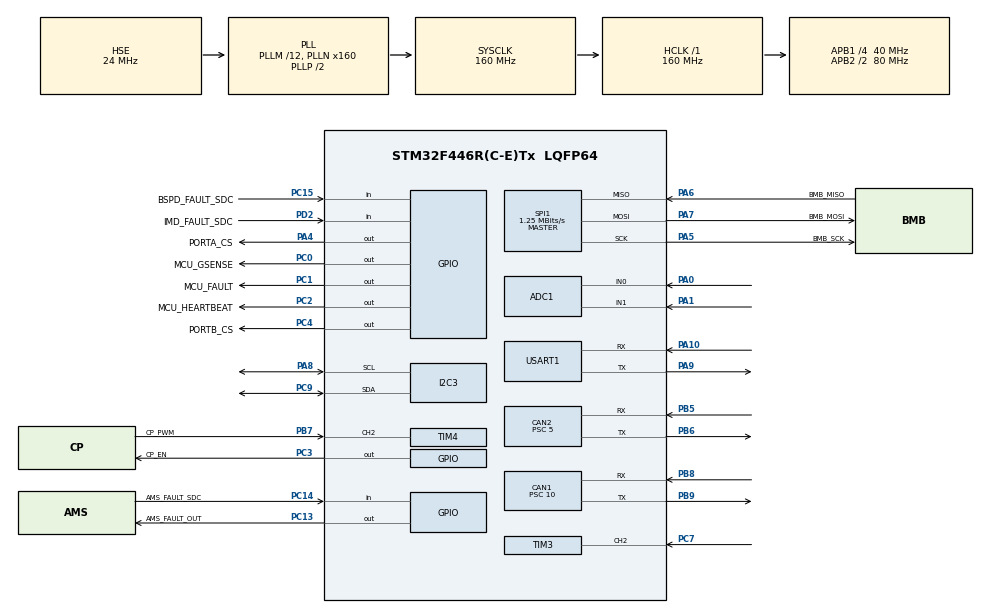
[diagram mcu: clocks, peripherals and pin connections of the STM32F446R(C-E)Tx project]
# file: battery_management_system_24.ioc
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ADC1.Channel-0\#ChannelRegularConversion=ADC_CHANNEL_0
ADC1.Channel-1\#ChannelRegularConversion=ADC_CHANNEL_0
ADC1.ContinuousConvMode=ENABLE
ADC1.DMAContinuousRequests=ENABLE
ADC1.NbrOfConversion=2
ADC1.NbrOfConversionFlag=1
ADC1.Rank-0\#ChannelRegularConversion=1
ADC1.Rank-1\#ChannelRegularConversion=2
ADC1.SamplingTime-0\#ChannelRegularConversion=ADC_SAMPLETIME_3CYCLES
ADC1.SamplingTime-1\#ChannelRegularConversion=ADC_SAMPLETIME_3CYCLES
ADC1.ScanConvMode=ENABLE
ADC1.master=1
CAN1.ABOM=ENABLE
CAN1.AWUM=ENABLE
CAN1.BS1=CAN_BS1_6TQ
CAN1.CalculateBaudRate=500000
CAN1.CalculateTimeBit=2000
CAN1.CalculateTimeQuantum=250.0
CAN1.Prescaler=10
CAN2.ABOM=ENABLE
CAN2.AWUM=ENABLE
CAN2.BS1=CAN_BS1_6TQ
CAN2.CalculateBaudRate=1000000
CAN2.CalculateTimeBit=1000
CAN2.CalculateTimeQuantum=125.0
CAN2.Prescaler=5
Dma.ADC1.0.Direction=DMA_PERIPH_TO_MEMORY
Dma.ADC1.0.FIFOMode=DMA_FIFOMODE_DISABLE
Dma.ADC1.0.Instance=DMA2_Stream0
Dma.ADC1.0.MemDataAlignment=DMA_MDATAALIGN_HALFWORD
Dma.ADC1.0.MemInc=DMA_MINC_ENABLE
Dma.ADC1.0.Mode=DMA_NORMAL
Dma.ADC1.0.PeriphDataAlignment=DMA_PDATAALIGN_HALFWORD
Dma.ADC1.0.PeriphInc=DMA_PINC_DISABLE
Dma.ADC1.0.Priority=DMA_PRIORITY_LOW
Dma.Request0=ADC1
FREERTOS.INCLUDE_vTaskDelayUntil=1
FREERTOS.Tasks01=bmbUpdateTask,0,8192,StartBmbUpdateTask,Default,NULL,Static,bmbUpdateTaskBuffer,bmbUpdateTaskControlBlock;printTask,-1,4096,StartPrintTask,Default,NULL,Static,printTaskBuffer,printTaskControlBlock;lowPriTask,-2,512,StartLowPriTask,Default,NULL,Static,lowPriTaskBuffer,lowPriTaskControlBlock;chargerTask,1,1024,StartChargerTask,Default,NULL,Static,chargerTaskBuffer,chargerTaskControlBlock;idleTask,-3,128,StartIdleTask,Default,NULL,Static,idleTaskBuffer,idleTaskControlBlock;serviceGCAN,0,2048,runServiceGopherCan,Default,NULL,Dynamic,NULL,NULL;currentSenseTas,2,512,StartCurrentSenseTask,Default,NULL,Static,currentSenseTasBuffer,currentSenseTasControlBlock
FREERTOS.configMINIMAL_STACK_SIZE=128
FREERTOS.configTOTAL_HEAP_SIZE=15360
Mcu.Family=STM32F4
Mcu.Name=STM32F446R(C-E)Tx
Mcu.Package=LQFP64
NVIC.CAN1_RX0_IRQn=true\:5\:0\:false\:false\:true\:true\:true\:true\:true
NVIC.CAN2_RX0_IRQn=true\:5\:0\:false\:false\:true\:true\:true\:true\:true
NVIC.CAN2_RX1_IRQn=true\:5\:0\:false\:false\:true\:true\:true\:true\:true
NVIC.CAN2_TX_IRQn=true\:5\:0\:false\:false\:true\:true\:true\:true\:true
NVIC.DMA2_Stream0_IRQn=true\:5\:0\:false\:false\:true\:true\:false\:true\:true
NVIC.I2C3_ER_IRQn=true\:5\:0\:false\:false\:true\:true\:true\:true\:true
NVIC.I2C3_EV_IRQn=true\:5\:0\:false\:false\:true\:true\:true\:true\:true
NVIC.PriorityGroup=NVIC_PRIORITYGROUP_4
NVIC.SPI1_IRQn=true\:5\:0\:false\:false\:true\:true\:true\:true\:true
NVIC.TIM3_IRQn=true\:5\:0\:false\:false\:true\:true\:true\:true\:true
NVIC.TIM4_IRQn=true\:5\:0\:false\:false\:true\:true\:true\:true\:true
NVIC.TIM6_DAC_IRQn=true\:15\:0\:false\:false\:true\:false\:false\:true\:true
NVIC.TimeBase=TIM6_DAC_IRQn
NVIC.TimeBaseIP=TIM6
PA0-WKUP.Signal=ADCx_IN0
PA1.Signal=ADCx_IN1
PA10.Mode=Asynchronous
PA10.Signal=USART1_RX
PA13.Mode=Serial_Wire
PA13.Signal=SYS_JTMS-SWDIO
PA14.Mode=Serial_Wire
PA14.Signal=SYS_JTCK-SWCLK
PA4.GPIO_Label=PORTA_CS
PA4.Signal=GPIO_Output
PA5.GPIO_Label=BMB_SCK
PA5.Mode=Full_Duplex_Master
PA5.Signal=SPI1_SCK
PA6.GPIO_Label=BMB_MISO
PA6.Mode=Full_Duplex_Master
PA6.Signal=SPI1_MISO
PA7.GPIO_Label=BMB_MOSI
PA7.Mode=Full_Duplex_Master
PA7.Signal=SPI1_MOSI
PA8.GPIO_Pu=GPIO_PULLUP
PA8.Mode=I2C
PA8.Signal=I2C3_SCL
PA9.Mode=Asynchronous
PA9.Signal=USART1_TX
PB5.Mode=CAN_Activate
PB5.Signal=CAN2_RX
PB6.Mode=CAN_Activate
PB6.Signal=CAN2_TX
PB7.GPIO_Label=CP_PWM
PB7.Signal=S_TIM4_CH2
PB8.Mode=CAN_Activate
PB8.Signal=CAN1_RX
PB9.Mode=CAN_Activate
PB9.Signal=CAN1_TX
PC0.GPIO_Label=MCU_GSENSE
PC0.Signal=GPIO_Output
PC1.GPIO_Label=MCU_FAULT
PC1.Signal=GPIO_Output
PC13.GPIO_Label=AMS_FAULT_OUT
PC13.Signal=GPIO_Output
PC14-OSC32_IN.GPIO_Label=AMS_FAULT_SDC
PC14-OSC32_IN.Signal=GPIO_Input
PC15-OSC32_OUT.GPIO_Label=BSPD_FAULT_SDC
PC15-OSC32_OUT.Signal=GPIO_Input
PC2.GPIO_Label=MCU_HEARTBEAT
PC2.Signal=GPIO_Output
PC3.GPIO_Label=CP_EN
PC3.Signal=GPIO_Output
PC4.GPIO_Label=PORTB_CS
PC4.Signal=GPIO_Output
PC7.Signal=S_TIM3_CH2
PC9.GPIO_Pu=GPIO_PULLUP
PC9.Mode=I2C
PC9.Signal=I2C3_SDA
PD2.GPIO_Label=IMD_FAULT_SDC
PD2.Signal=GPIO_Input
PH0-OSC_IN.Mode=HSE-External-Oscillator
PH0-OSC_IN.Signal=RCC_OSC_IN
PH1-OSC_OUT.Mode=HSE-External-Oscillator
PH1-OSC_OUT.Signal=RCC_OSC_OUT
ProjectManager.HeapSize=0x200
ProjectManager.StackSize=0x400
ProjectManager.TargetToolchain=STM32CubeIDE
RCC.AHBFreq_Value=160000000
RCC.APB1CLKDivider=RCC_HCLK_DIV4
RCC.APB1Freq_Value=40000000
RCC.APB1TimFreq_Value=80000000
RCC.APB2CLKDivider=RCC_HCLK_DIV2
RCC.APB2Freq_Value=80000000
RCC.APB2TimFreq_Value=160000000
RCC.CortexFreq_Value=160000000
RCC.HCLKFreq_Value=160000000
RCC.HSE_VALUE=24000000
RCC.PLLM=12
RCC.PLLN=160
RCC.PLLSourceVirtual=RCC_PLLSOURCE_HSE
RCC.SYSCLKFreq_VALUE=160000000
RCC.SYSCLKSource=RCC_SYSCLKSOURCE_PLLCLK
RCC.USBFreq_Value=160000000
RCC.VCOOutputFreq_Value=320000000
SH.ADCx_IN0.0=ADC1_IN0,IN0
SH.ADCx_IN1.0=ADC1_IN1,IN1
SH.S_TIM3_CH2.0=TIM3_CH2,PWM_Input_2
SH.S_TIM4_CH2.0=TIM4_CH2,Input_Capture2_from_TI2
SPI1.BaudRatePrescaler=SPI_BAUDRATEPRESCALER_64
SPI1.CLKPhase=SPI_PHASE_2EDGE
SPI1.CLKPolarity=SPI_POLARITY_HIGH
SPI1.CalculateBaudRate=1.25 MBits/s
SPI1.Direction=SPI_DIRECTION_2LINES
SPI1.Mode=SPI_MODE_MASTER
SPI1.VirtualType=VM_MASTER
TIM3.ICPolarity_1=TIM_INPUTCHANNELPOLARITY_FALLING
TIM3.Prescaler=200
TIM4.Channel-Input_Capture2_from_TI2=TIM_CHANNEL_2
TIM4.ICPolarity_CH2=TIM_INPUTCHANNELPOLARITY_BOTHEDGE
TIM4.Period=65535
TIM4.Prescaler=80-1
USART1.VirtualMode=VM_ASYNC
VP_FREERTOS_VS_CMSIS_V1.Mode=CMSIS_V1
VP_SYS_VS_tim6.Mode=TIM6
VP_TIM3_VS_ClockSourceINT.Mode=Internal
VP_TIM4_VS_ClockSourceINT.Mode=Internal
board=custom

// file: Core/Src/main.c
/* USER CODE BEGIN Header */
/**
  ******************************************************************************
  * @file           : main.c
  * @brief          : Main program body
  ******************************************************************************
  * @attention
  *
  * Copyright (c) 2023 STMicroelectronics.
  * All rights reserved.
  *
  * This software is licensed under terms that can be found in the LICENSE file
  * in the root directory of this software component.
  * If no LICENSE file comes with this software, it is provided AS-IS.
  *
  ******************************************************************************
  */
/* USER CODE END Header */
#include "main.h"
#include "cmsis_os.h"

/* USER CODE BEGIN Includes */
#include "printTask.h"
#include "chargerTask.h"
#include "idleTask.h"
#include "gcanUpdateTask.h"
#include "spi.h"
#include <stdint.h>
#include <stdio.h>
#include "GopherCAN.h"
#include "gopher_sense.h"

/* USER CODE END Includes */

ADC_HandleTypeDef hadc1;
DMA_HandleTypeDef hdma_adc1;

CAN_HandleTypeDef hcan1;
CAN_HandleTypeDef hcan2;

I2C_HandleTypeDef hi2c3;

SPI_HandleTypeDef hspi1;

TIM_HandleTypeDef htim3;
TIM_HandleTypeDef htim4;

UART_HandleTypeDef huart1;

osThreadId bmbUpdateTaskHandle;
uint32_t bmbUpdateTaskBuffer[ 8192 ];
osStaticThreadDef_t bmbUpdateTaskControlBlock;
osThreadId printTaskHandle;
uint32_t printTaskBuffer[ 4096 ];
osStaticThreadDef_t printTaskControlBlock;
osThreadId lowPriTaskHandle;
uint32_t lowPriTaskBuffer[ 512 ];
osStaticThreadDef_t lowPriTaskControlBlock;
osThreadId chargerTaskHandle;
uint32_t chargerTaskBuffer[ 1024 ];
osStaticThreadDef_t chargerTaskControlBlock;
osThreadId idleTaskHandle;
uint32_t idleTaskBuffer[ 128 ];
osStaticThreadDef_t idleTaskControlBlock;
osThreadId serviceGCANHandle;
osThreadId currentSenseTasHandle;
uint32_t currentSenseTasBuffer[ 512 ];
osStaticThreadDef_t currentSenseTasControlBlock;
/* USER CODE BEGIN PV */

BmbTaskOutputData_S bmbTaskOutputData;
Charger_Data_S chargerTaskOutputData;
CurrentSenseTaskOutputData_S currentSenseOutputData;

volatile bool EVSEConnected = false;
volatile uint32_t EVSELastUpdate = 0;
volatile bool chargerConnected = false;
volatile bool newChargerMessage = false;
volatile uint8_t chargerMessage[5];

/* USER CODE END PV */

void SystemClock_Config(void);
static void MX_GPIO_Init(void);
static void MX_DMA_Init(void);
static void MX_SPI1_Init(void);
static void MX_USART1_UART_Init(void);
static void MX_TIM3_Init(void);
static void MX_I2C3_Init(void);
static void MX_CAN1_Init(void);
static void MX_TIM4_Init(void);
static void MX_ADC1_Init(void);
static void MX_CAN2_Init(void);
void StartBmbUpdateTask(void const * argument);
void StartPrintTask(void const * argument);
void StartLowPriTask(void const * argument);
void StartChargerTask(void const * argument);
void StartIdleTask(void const * argument);
void runServiceGopherCan(void const * argument);
void StartCurrentSenseTask(void const * argument);

/* USER CODE BEGIN PFP */
#ifdef __GNUC__
#define PUTCHAR_PROTOTYPE int __io_putchar(int ch)
#define GETCHAR_PROTOTYPE int __io_getchar(void)
#else
#define PUTCHAR_PROTOTYPE int fputc(int ch, FILE *f)
#define GETCHAR_PROTOTYPE int fgetc(FILE *f)
#endif

PUTCHAR_PROTOTYPE
{
  HAL_UART_Transmit(&huart1, (uint8_t *)&ch, 1, HAL_MAX_DELAY);
  return ch;
}

GETCHAR_PROTOTYPE
{
  uint8_t ch = 0;

  /* Clear the Overrun flag just before receiving the first character */
  __HAL_UART_CLEAR_OREFLAG(&huart1);

  /* Wait for reception of a character on the USART RX line and echo this
   * character on console */
  HAL_UART_Receive(&huart1, (uint8_t *)&ch, 1, HAL_MAX_DELAY);
  HAL_UART_Transmit(&huart1, (uint8_t *)&ch, 1, HAL_MAX_DELAY);
  return ch;
}
/* USER CODE END PFP */

/* USER CODE BEGIN 0 */

/*!
  @brief   Interrupt when SPI TX/RX finishes. Unblock task by releasing
  	  	   semaphore
  @param   SPI Handle
*/
void HAL_SPI_TxRxCpltCallback(SPI_HandleTypeDef *hspi)
{
	if (hspi == &hspi1)
	{
		static BaseType_t xHigherPriorityTaskWoken = pdFALSE;
		xTaskNotifyFromISR(bmbUpdateTaskHandle, SPI_SUCCESS, eSetBits, &xHigherPriorityTaskWoken);
		portYIELD_FROM_ISR(xHigherPriorityTaskWoken);
	}
}

void HAL_SPI_ErrorCallback(SPI_HandleTypeDef *hspi)
{
  if (hspi == &hspi1)
	{
		static BaseType_t xHigherPriorityTaskWoken = pdFALSE;
    xTaskNotifyFromISR(bmbUpdateTaskHandle, SPI_ERROR, eSetBits, &xHigherPriorityTaskWoken);
		portYIELD_FROM_ISR(xHigherPriorityTaskWoken);
	}
}

void HAL_TIM_IC_CaptureCallback(TIM_HandleTypeDef *htim)
{
  if((htim == &htim4) && (htim->Channel == HAL_TIM_ACTIVE_CHANNEL_2))
  {
    EVSEConnected = true;
    EVSELastUpdate = HAL_GetTick();
    __HAL_TIM_SET_COUNTER(htim, 0);
  }
}

// void GCAN_RxMsgPendingCallback(CAN_HandleTypeDef *hcan, U32 fifo_num)
// {
//   // Charger CAN
//   if(hcan == &hcan1)
//   {
//     CAN_RxHeaderTypeDef rxHeader;
//     uint8_t rxData[8];
//
//     HAL_CAN_GetRxMessage(hcan, fifo_num, &rxHeader, rxData);
//     if ((rxHeader.ExtId == CHARGER_CAN_ID_RX) && (rxHeader.DLC == 8))
//     {
//       for (int32_t i = 0; i < 5; i++)
//       {
//         chargerMessage[i] = rxData[i];
//       }
//       newChargerMessage = true;
//     }
//   }
//
//   // Gopher CAN
//   if(hcan == &hcan2)
//   {
//     service_can_rx_hardware(hcan, fifo_num);
//     GCAN_onRX(hcan);
//   }
// }

/* USER CODE END 0 */

int main(void)
{

  /* MCU Configuration--------------------------------------------------------*/

  /* Reset of all peripherals, Initializes the Flash interface and the Systick. */
  HAL_Init();

  /* Configure the system clock */
  SystemClock_Config();

  /* Initialize all configured peripherals */
  MX_GPIO_Init();
  MX_DMA_Init();
  MX_SPI1_Init();
  MX_USART1_UART_Init();
  MX_TIM3_Init();
  MX_I2C3_Init();
  MX_CAN1_Init();
  MX_TIM4_Init();
  MX_ADC1_Init();
  MX_CAN2_Init();
  /* USER CODE BEGIN 2 */

  init_can(&hcan1, GCAN0);
//  init_can(&hcan2, GCAN0);
//  gsense_init(&hcan2, &hadc1, NULL, NULL, MCU_GSENSE_GPIO_Port, MCU_GSENSE_Pin);

  HAL_TIM_IC_Start_IT(&htim4, TIM_CHANNEL_2);

  // Activate Charger CAN RX MSG PENDING notification
//   HAL_CAN_Start(&hcan1);
//   HAL_CAN_ActivateNotification(&hcan1, CAN_IT_RX_FIFO0_MSG_PENDING);

  /* USER CODE END 2 */

  /* Create the thread(s) */
  /* definition and creation of bmbUpdateTask */
  osThreadStaticDef(bmbUpdateTask, StartBmbUpdateTask, osPriorityNormal, 0, 8192, bmbUpdateTaskBuffer, &bmbUpdateTaskControlBlock);
  bmbUpdateTaskHandle = osThreadCreate(osThread(bmbUpdateTask), NULL);

  /* definition and creation of printTask */
  osThreadStaticDef(printTask, StartPrintTask, osPriorityBelowNormal, 0, 4096, printTaskBuffer, &printTaskControlBlock);
  printTaskHandle = osThreadCreate(osThread(printTask), NULL);

  /* definition and creation of lowPriTask */
  osThreadStaticDef(lowPriTask, StartLowPriTask, osPriorityLow, 0, 512, lowPriTaskBuffer, &lowPriTaskControlBlock);
  lowPriTaskHandle = osThreadCreate(osThread(lowPriTask), NULL);

  /* definition and creation of chargerTask */
  osThreadStaticDef(chargerTask, StartChargerTask, osPriorityAboveNormal, 0, 1024, chargerTaskBuffer, &chargerTaskControlBlock);
  chargerTaskHandle = osThreadCreate(osThread(chargerTask), NULL);

  /* definition and creation of idleTask */
  osThreadStaticDef(idleTask, StartIdleTask, osPriorityIdle, 0, 128, idleTaskBuffer, &idleTaskControlBlock);
  idleTaskHandle = osThreadCreate(osThread(idleTask), NULL);

  /* definition and creation of serviceGCAN */
  osThreadDef(serviceGCAN, runServiceGopherCan, osPriorityNormal, 0, 2048);
  serviceGCANHandle = osThreadCreate(osThread(serviceGCAN), NULL);

  /* definition and creation of currentSenseTas */
  osThreadStaticDef(currentSenseTas, StartCurrentSenseTask, osPriorityHigh, 0, 512, currentSenseTasBuffer, &currentSenseTasControlBlock);
  currentSenseTasHandle = osThreadCreate(osThread(currentSenseTas), NULL);

  /* Start scheduler */
  osKernelStart();

  /* We should never get here as control is now taken by the scheduler */
  /* Infinite loop */
  while (1)
  {

  }
}

void SystemClock_Config(void)
{
  RCC_OscInitTypeDef RCC_OscInitStruct = {0};
  RCC_ClkInitTypeDef RCC_ClkInitStruct = {0};

  /** Configure the main internal regulator output voltage
  */
  __HAL_RCC_PWR_CLK_ENABLE();
  __HAL_PWR_VOLTAGESCALING_CONFIG(PWR_REGULATOR_VOLTAGE_SCALE1);

  /** Initializes the RCC Oscillators according to the specified parameters
  * in the RCC_OscInitTypeDef structure.
  */
  RCC_OscInitStruct.OscillatorType = RCC_OSCILLATORTYPE_HSE;
  RCC_OscInitStruct.HSEState = RCC_HSE_ON;
  RCC_OscInitStruct.PLL.PLLState = RCC_PLL_ON;
  RCC_OscInitStruct.PLL.PLLSource = RCC_PLLSOURCE_HSE;
  RCC_OscInitStruct.PLL.PLLM = 12;
  RCC_OscInitStruct.PLL.PLLN = 160;
  RCC_OscInitStruct.PLL.PLLP = RCC_PLLP_DIV2;
  RCC_OscInitStruct.PLL.PLLQ = 2;
  RCC_OscInitStruct.PLL.PLLR = 2;
  if (HAL_RCC_OscConfig(&RCC_OscInitStruct) != HAL_OK)
  {
    Error_Handler();
  }

  /** Initializes the CPU, AHB and APB buses clocks
  */
  RCC_ClkInitStruct.ClockType = RCC_CLOCKTYPE_HCLK|RCC_CLOCKTYPE_SYSCLK
                              |RCC_CLOCKTYPE_PCLK1|RCC_CLOCKTYPE_PCLK2;
  RCC_ClkInitStruct.SYSCLKSource = RCC_SYSCLKSOURCE_PLLCLK;
  RCC_ClkInitStruct.AHBCLKDivider = RCC_SYSCLK_DIV1;
  RCC_ClkInitStruct.APB1CLKDivider = RCC_HCLK_DIV4;
  RCC_ClkInitStruct.APB2CLKDivider = RCC_HCLK_DIV2;

  if (HAL_RCC_ClockConfig(&RCC_ClkInitStruct, FLASH_LATENCY_5) != HAL_OK)
  {
    Error_Handler();
  }
}

static void MX_ADC1_Init(void)
{

  ADC_ChannelConfTypeDef sConfig = {0};

  /** Configure the global features of the ADC (Clock, Resolution, Data Alignment and number of conversion)
  */
  hadc1.Instance = ADC1;
  hadc1.Init.ClockPrescaler = ADC_CLOCK_SYNC_PCLK_DIV4;
  hadc1.Init.Resolution = ADC_RESOLUTION_12B;
  hadc1.Init.ScanConvMode = ENABLE;
  hadc1.Init.ContinuousConvMode = ENABLE;
  hadc1.Init.DiscontinuousConvMode = DISABLE;
  hadc1.Init.ExternalTrigConvEdge = ADC_EXTERNALTRIGCONVEDGE_NONE;
  hadc1.Init.ExternalTrigConv = ADC_SOFTWARE_START;
  hadc1.Init.DataAlign = ADC_DATAALIGN_RIGHT;
  hadc1.Init.NbrOfConversion = 2;
  hadc1.Init.DMAContinuousRequests = ENABLE;
  hadc1.Init.EOCSelection = ADC_EOC_SINGLE_CONV;
  if (HAL_ADC_Init(&hadc1) != HAL_OK)
  {
    Error_Handler();
  }

  /** Configure for the selected ADC regular channel its corresponding rank in the sequencer and its sample time.
  */
  sConfig.Channel = ADC_CHANNEL_0;
  sConfig.Rank = 1;
  sConfig.SamplingTime = ADC_SAMPLETIME_3CYCLES;
  if (HAL_ADC_ConfigChannel(&hadc1, &sConfig) != HAL_OK)
  {
    Error_Handler();
  }

  /** Configure for the selected ADC regular channel its corresponding rank in the sequencer and its sample time.
  */
  sConfig.Rank = 2;
  if (HAL_ADC_ConfigChannel(&hadc1, &sConfig) != HAL_OK)
  {
    Error_Handler();
  }

}

static void MX_CAN1_Init(void)
{

  hcan1.Instance = CAN1;
  hcan1.Init.Prescaler = 10;
  hcan1.Init.Mode = CAN_MODE_NORMAL;
  hcan1.Init.SyncJumpWidth = CAN_SJW_1TQ;
  hcan1.Init.TimeSeg1 = CAN_BS1_6TQ;
  hcan1.Init.TimeSeg2 = CAN_BS2_1TQ;
  hcan1.Init.TimeTriggeredMode = DISABLE;
  hcan1.Init.AutoBusOff = ENABLE;
  hcan1.Init.AutoWakeUp = ENABLE;
  hcan1.Init.AutoRetransmission = DISABLE;
  hcan1.Init.ReceiveFifoLocked = DISABLE;
  hcan1.Init.TransmitFifoPriority = DISABLE;
  if (HAL_CAN_Init(&hcan1) != HAL_OK)
  {
    Error_Handler();
  }

}

static void MX_CAN2_Init(void)
{

  hcan2.Instance = CAN2;
  hcan2.Init.Prescaler = 5;
  hcan2.Init.Mode = CAN_MODE_NORMAL;
  hcan2.Init.SyncJumpWidth = CAN_SJW_1TQ;
  hcan2.Init.TimeSeg1 = CAN_BS1_6TQ;
  hcan2.Init.TimeSeg2 = CAN_BS2_1TQ;
  hcan2.Init.TimeTriggeredMode = DISABLE;
  hcan2.Init.AutoBusOff = ENABLE;
  hcan2.Init.AutoWakeUp = ENABLE;
  hcan2.Init.AutoRetransmission = DISABLE;
  hcan2.Init.ReceiveFifoLocked = DISABLE;
  hcan2.Init.TransmitFifoPriority = DISABLE;
  if (HAL_CAN_Init(&hcan2) != HAL_OK)
  {
    Error_Handler();
  }

}

static void MX_I2C3_Init(void)
{

  hi2c3.Instance = I2C3;
  hi2c3.Init.ClockSpeed = 100000;
  hi2c3.Init.DutyCycle = I2C_DUTYCYCLE_2;
  hi2c3.Init.OwnAddress1 = 0;
  hi2c3.Init.AddressingMode = I2C_ADDRESSINGMODE_7BIT;
  hi2c3.Init.DualAddressMode = I2C_DUALADDRESS_DISABLE;
  hi2c3.Init.OwnAddress2 = 0;
  hi2c3.Init.GeneralCallMode = I2C_GENERALCALL_DISABLE;
  hi2c3.Init.NoStretchMode = I2C_NOSTRETCH_DISABLE;
  if (HAL_I2C_Init(&hi2c3) != HAL_OK)
  {
    Error_Handler();
  }

}

static void MX_SPI1_Init(void)
{

  /* SPI1 parameter configuration*/
  hspi1.Instance = SPI1;
  hspi1.Init.Mode = SPI_MODE_MASTER;
  hspi1.Init.Direction = SPI_DIRECTION_2LINES;
  hspi1.Init.DataSize = SPI_DATASIZE_8BIT;
  hspi1.Init.CLKPolarity = SPI_POLARITY_HIGH;
  hspi1.Init.CLKPhase = SPI_PHASE_2EDGE;
  hspi1.Init.NSS = SPI_NSS_SOFT;
  hspi1.Init.BaudRatePrescaler = SPI_BAUDRATEPRESCALER_64;
  hspi1.Init.FirstBit = SPI_FIRSTBIT_MSB;
  hspi1.Init.TIMode = SPI_TIMODE_DISABLE;
  hspi1.Init.CRCCalculation = SPI_CRCCALCULATION_DISABLE;
  hspi1.Init.CRCPolynomial = 10;
  if (HAL_SPI_Init(&hspi1) != HAL_OK)
  {
    Error_Handler();
  }

}

static void MX_TIM3_Init(void)
{

  TIM_ClockConfigTypeDef sClockSourceConfig = {0};
  TIM_SlaveConfigTypeDef sSlaveConfig = {0};
  TIM_IC_InitTypeDef sConfigIC = {0};
  TIM_MasterConfigTypeDef sMasterConfig = {0};

  htim3.Instance = TIM3;
  htim3.Init.Prescaler = 200;
  htim3.Init.CounterMode = TIM_COUNTERMODE_UP;
  htim3.Init.Period = 65535;
  htim3.Init.ClockDivision = TIM_CLOCKDIVISION_DIV1;
  htim3.Init.AutoReloadPreload = TIM_AUTORELOAD_PRELOAD_DISABLE;
  if (HAL_TIM_Base_Init(&htim3) != HAL_OK)
  {
    Error_Handler();
  }
  sClockSourceConfig.ClockSource = TIM_CLOCKSOURCE_INTERNAL;
  if (HAL_TIM_ConfigClockSource(&htim3, &sClockSourceConfig) != HAL_OK)
  {
    Error_Handler();
  }
  if (HAL_TIM_IC_Init(&htim3) != HAL_OK)
  {
    Error_Handler();
  }
  sSlaveConfig.SlaveMode = TIM_SLAVEMODE_RESET;
  sSlaveConfig.InputTrigger = TIM_TS_TI2FP2;
  sSlaveConfig.TriggerPolarity = TIM_INPUTCHANNELPOLARITY_RISING;
  sSlaveConfig.TriggerPrescaler = TIM_ICPSC_DIV1;
  sSlaveConfig.TriggerFilter = 0;
  if (HAL_TIM_SlaveConfigSynchro(&htim3, &sSlaveConfig) != HAL_OK)
  {
    Error_Handler();
  }
  sConfigIC.ICPolarity = TIM_INPUTCHANNELPOLARITY_FALLING;
  sConfigIC.ICSelection = TIM_ICSELECTION_INDIRECTTI;
  sConfigIC.ICPrescaler = TIM_ICPSC_DIV1;
  sConfigIC.ICFilter = 0;
  if (HAL_TIM_IC_ConfigChannel(&htim3, &sConfigIC, TIM_CHANNEL_1) != HAL_OK)
  {
    Error_Handler();
  }
  sConfigIC.ICPolarity = TIM_INPUTCHANNELPOLARITY_RISING;
  sConfigIC.ICSelection = TIM_ICSELECTION_DIRECTTI;
  if (HAL_TIM_IC_ConfigChannel(&htim3, &sConfigIC, TIM_CHANNEL_2) != HAL_OK)
  {
    Error_Handler();
  }
  sMasterConfig.MasterOutputTrigger = TIM_TRGO_RESET;
  sMasterConfig.MasterSlaveMode = TIM_MASTERSLAVEMODE_DISABLE;
  if (HAL_TIMEx_MasterConfigSynchronization(&htim3, &sMasterConfig) != HAL_OK)
  {
    Error_Handler();
  }

}

static void MX_TIM4_Init(void)
{

  TIM_ClockConfigTypeDef sClockSourceConfig = {0};
  TIM_MasterConfigTypeDef sMasterConfig = {0};
  TIM_IC_InitTypeDef sConfigIC = {0};

  htim4.Instance = TIM4;
  htim4.Init.Prescaler = 80-1;
  htim4.Init.CounterMode = TIM_COUNTERMODE_UP;
  htim4.Init.Period = 65535;
  htim4.Init.ClockDivision = TIM_CLOCKDIVISION_DIV1;
  htim4.Init.AutoReloadPreload = TIM_AUTORELOAD_PRELOAD_DISABLE;
  if (HAL_TIM_Base_Init(&htim4) != HAL_OK)
  {
    Error_Handler();
  }
  sClockSourceConfig.ClockSource = TIM_CLOCKSOURCE_INTERNAL;
  if (HAL_TIM_ConfigClockSource(&htim4, &sClockSourceConfig) != HAL_OK)
  {
    Error_Handler();
  }
  if (HAL_TIM_IC_Init(&htim4) != HAL_OK)
  {
    Error_Handler();
  }
  sMasterConfig.MasterOutputTrigger = TIM_TRGO_RESET;
  sMasterConfig.MasterSlaveMode = TIM_MASTERSLAVEMODE_DISABLE;
  if (HAL_TIMEx_MasterConfigSynchronization(&htim4, &sMasterConfig) != HAL_OK)
  {
    Error_Handler();
  }
  sConfigIC.ICPolarity = TIM_INPUTCHANNELPOLARITY_BOTHEDGE;
  sConfigIC.ICSelection = TIM_ICSELECTION_DIRECTTI;
  sConfigIC.ICPrescaler = TIM_ICPSC_DIV1;
  sConfigIC.ICFilter = 0;
  if (HAL_TIM_IC_ConfigChannel(&htim4, &sConfigIC, TIM_CHANNEL_2) != HAL_OK)
  {
    Error_Handler();
  }

}

static void MX_USART1_UART_Init(void)
{

  huart1.Instance = USART1;
  huart1.Init.BaudRate = 115200;
  huart1.Init.WordLength = UART_WORDLENGTH_8B;
  huart1.Init.StopBits = UART_STOPBITS_1;
  huart1.Init.Parity = UART_PARITY_NONE;
  huart1.Init.Mode = UART_MODE_TX_RX;
  huart1.Init.HwFlowCtl = UART_HWCONTROL_NONE;
  huart1.Init.OverSampling = UART_OVERSAMPLING_16;
  if (HAL_UART_Init(&huart1) != HAL_OK)
  {
    Error_Handler();
  }

}

static void MX_DMA_Init(void)
{

  /* DMA controller clock enable */
  __HAL_RCC_DMA2_CLK_ENABLE();

  /* DMA interrupt init */
  /* DMA2_Stream0_IRQn interrupt configuration */
  HAL_NVIC_SetPriority(DMA2_Stream0_IRQn, 5, 0);
  HAL_NVIC_EnableIRQ(DMA2_Stream0_IRQn);

}

static void MX_GPIO_Init(void)
{
  GPIO_InitTypeDef GPIO_InitStruct = {0};

  /* GPIO Ports Clock Enable */
  __HAL_RCC_GPIOC_CLK_ENABLE();
  __HAL_RCC_GPIOH_CLK_ENABLE();
  __HAL_RCC_GPIOA_CLK_ENABLE();
  __HAL_RCC_GPIOD_CLK_ENABLE();
  __HAL_RCC_GPIOB_CLK_ENABLE();

  /*Configure GPIO pin Output Level */
  HAL_GPIO_WritePin(GPIOC, AMS_FAULT_OUT_Pin|MCU_GSENSE_Pin|MCU_FAULT_Pin|MCU_HEARTBEAT_Pin
                          |CP_EN_Pin|PORTB_CS_Pin, GPIO_PIN_RESET);

  /*Configure GPIO pin Output Level */
  HAL_GPIO_WritePin(PORTA_CS_GPIO_Port, PORTA_CS_Pin, GPIO_PIN_RESET);

  /*Configure GPIO pins : AMS_FAULT_OUT_Pin MCU_GSENSE_Pin MCU_FAULT_Pin MCU_HEARTBEAT_Pin
                           CP_EN_Pin PORTB_CS_Pin */
  GPIO_InitStruct.Pin = AMS_FAULT_OUT_Pin|MCU_GSENSE_Pin|MCU_FAULT_Pin|MCU_HEARTBEAT_Pin
                          |CP_EN_Pin|PORTB_CS_Pin;
  GPIO_InitStruct.Mode = GPIO_MODE_OUTPUT_PP;
  GPIO_InitStruct.Pull = GPIO_NOPULL;
  GPIO_InitStruct.Speed = GPIO_SPEED_FREQ_LOW;
  HAL_GPIO_Init(GPIOC, &GPIO_InitStruct);

  /*Configure GPIO pins : AMS_FAULT_SDC_Pin BSPD_FAULT_SDC_Pin */
  GPIO_InitStruct.Pin = AMS_FAULT_SDC_Pin|BSPD_FAULT_SDC_Pin;
  GPIO_InitStruct.Mode = GPIO_MODE_INPUT;
  GPIO_InitStruct.Pull = GPIO_NOPULL;
  HAL_GPIO_Init(GPIOC, &GPIO_InitStruct);

  /*Configure GPIO pin : PORTA_CS_Pin */
  GPIO_InitStruct.Pin = PORTA_CS_Pin;
  GPIO_InitStruct.Mode = GPIO_MODE_OUTPUT_PP;
  GPIO_InitStruct.Pull = GPIO_NOPULL;
  GPIO_InitStruct.Speed = GPIO_SPEED_FREQ_LOW;
  HAL_GPIO_Init(PORTA_CS_GPIO_Port, &GPIO_InitStruct);

  /*Configure GPIO pin : IMD_FAULT_SDC_Pin */
  GPIO_InitStruct.Pin = IMD_FAULT_SDC_Pin;
  GPIO_InitStruct.Mode = GPIO_MODE_INPUT;
  GPIO_InitStruct.Pull = GPIO_NOPULL;
  HAL_GPIO_Init(IMD_FAULT_SDC_GPIO_Port, &GPIO_InitStruct);

}

void StartBmbUpdateTask(void const * argument)
{
  /* USER CODE BEGIN 5 */
  /* Infinite loop */
  initBmbUpdateTask();
  TickType_t lastBmbUpdateTaskTick = HAL_GetTick();
  const TickType_t bmbUpdateTaskPeriod = pdMS_TO_TICKS(BMB_UPDATE_TASK_PERIOD_MS);
  for(;;)
  {
    // osDelay(1000);
    runBmbUpdateTask();
    vTaskDelayUntil(&lastBmbUpdateTaskTick, bmbUpdateTaskPeriod);
  }
  /* USER CODE END 5 */
}

void StartPrintTask(void const * argument)
{
  /* USER CODE BEGIN StartPrintTask */
  /* Infinite loop */
  initPrintTask();
  TickType_t lastPrintTaskTick = HAL_GetTick();
  const TickType_t printTaskPeriod = pdMS_TO_TICKS(PRINT_TASK_PERIOD_MS);
  for(;;)
  {
    runPrintTask();
    vTaskDelayUntil(&lastPrintTaskTick, printTaskPeriod);
  }
  /* USER CODE END StartPrintTask */
}

void StartLowPriTask(void const * argument)
{
  for(;;)
  {
    osDelay(1);
  }
}

void StartChargerTask(void const * argument)
{
  /* USER CODE BEGIN StartChargerTask */
  /* Infinite loop */

  initChargerTask();
  // TickType_t lastChargerTaskTick = HAL_GetTick();
  const TickType_t chargerTaskPeriod = pdMS_TO_TICKS(CHARGER_TASK_PERIOD_MS);
  for(;;)
  {
    runChargerTask();
    // vTaskDelayUntil(&lastChargerTaskTick, chargerTaskPeriod);
    osDelay(chargerTaskPeriod);
  }
  /* USER CODE END StartChargerTask */
}

void StartIdleTask(void const * argument)
{
  /* USER CODE BEGIN StartIdleTask */
  /* Infinite loop */
  idleInit();
  for(;;)
  {
    runIdle();
    osDelay(1);
  }
  /* USER CODE END StartIdleTask */
}

void runServiceGopherCan(void const * argument)
{
  /* USER CODE BEGIN runServiceGopherCan */
  /* Infinite loop */
//  initGcanUpdateTask();
  for(;;)
  {
//    runGcanUpdateTask();
    service_can_rx_buffer();
    osDelay(1);
  }
  /* USER CODE END runServiceGopherCan */
}

void StartCurrentSenseTask(void const * argument)
{
  /* USER CODE BEGIN StartCurrentSenseTask */
  /* Infinite loop */
  initCurrentSenseTask();
  const TickType_t currentSenseTaskPeriod = pdMS_TO_TICKS(CURRENT_SENSE_TASK_PERIOD_MS);
  for(;;)
  {
    runCurrentSenseTask();
    osDelay(currentSenseTaskPeriod);
  }
  /* USER CODE END StartCurrentSenseTask */
}

void HAL_TIM_PeriodElapsedCallback(TIM_HandleTypeDef *htim)
{
  if (htim->Instance == TIM6) {
    HAL_IncTick();
  }
}

void Error_Handler(void)
{
  __disable_irq();
  while (1)
  {
  }
}
